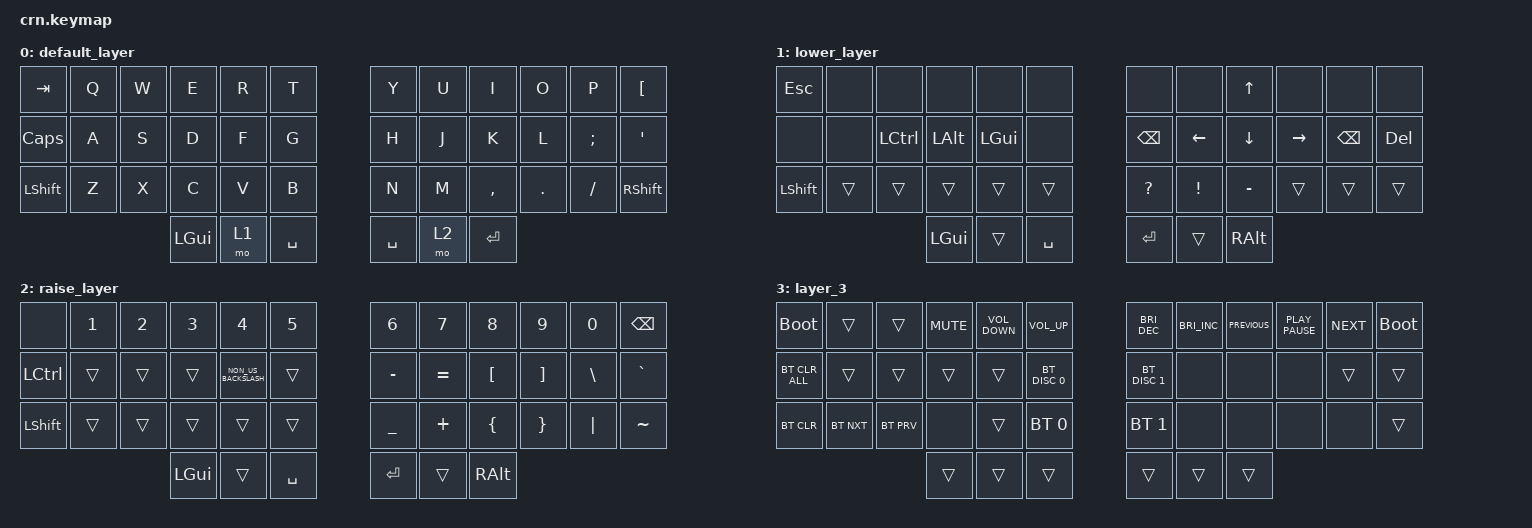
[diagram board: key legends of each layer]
#include <behaviors.dtsi>
#include <dt-bindings/zmk/bt.h>
#include <dt-bindings/zmk/keys.h>

/ {
    keymap {
        compatible = "zmk,keymap";

        default_layer {
            // -----------------------------------------------------------------------------------------
            // |  TAB |  Q  |  W  |  E  |  R  |  T  |   |  Y  |  U   |  I  |  O  |  P  | BKSP |
            // | CTRL |  A  |  S  |  D  |  F  |  G  |   |  H  |  J   |  K  |  L  |  ;  |  '   |
            // | SHFT |  Z  |  X  |  C  |  V  |  B  |   |  N  |  M   |  ,  |  .  |  /  | ESC  |
            //                    | GUI | LWR | SPC |   | ENT | RSE  | ALT |

            bindings = <
&kp TAB    &kp Q  &kp W  &kp E     &kp R  &kp T      &kp Y      &kp U  &kp I      &kp O    &kp P     &kp LEFT_BRACKET
&kp CAPS   &kp A  &kp S  &kp D     &kp F  &kp G      &kp H      &kp J  &kp K      &kp L    &kp SEMI  &kp SQT
&kp LSHFT  &kp Z  &kp X  &kp C     &kp V  &kp B      &kp N      &kp M  &kp COMMA  &kp DOT  &kp FSLH  &kp RIGHT_SHIFT
                         &kp LGUI  &mo 1  &kp SPACE  &kp SPACE  &mo 2  &kp ENTER
            >;
        };

        lower_layer {
            // -----------------------------------------------------------------------------------------
            // |  TAB |  1  |  2  |  3  |  4  |  5  |   |  6  |  7  |  8  |  9  |  0  | BKSP |
            // | BTCLR| BT1 | BT2 | BT3 | BT4 | BT5 |   | LFT | DWN |  UP | RGT |     |      |
            // | SHFT |     |     |     |     |     |   |     |     |     |     |     |      |
            //                    | GUI |     | SPC |   | ENT |     | ALT |

            bindings = <
&kp ESC    &none   &none             &none         &none         &none      &none          &none            &kp UP_ARROW  &none      &none          &none
&none      &none   &kp LEFT_CONTROL  &kp LEFT_ALT  &kp LEFT_GUI  &none      &kp BACKSPACE  &kp LEFT         &kp DOWN      &kp RIGHT  &kp BACKSPACE  &kp DEL
&kp LSHFT  &trans  &trans            &trans        &trans        &trans     &kp QUESTION   &kp EXCLAMATION  &kp MINUS     &trans     &trans         &trans
                                     &kp LGUI      &trans        &kp SPACE  &kp RET        &trans           &kp RALT
            >;
        };

        raise_layer {
            // -----------------------------------------------------------------------------------------
            // |  TAB |  !  |  @  |  #  |  $  |  %  |   |  ^  |  &  |  *  |  (  |  )  | BKSP |
            // | CTRL |     |     |     |     |     |   |  -  |  =  |  [  |  ]  |  \  |  `   |
            // | SHFT |     |     |     |     |     |   |  _  |  +  |  {  |  }  | "|" |  ~   |
            //                    | GUI |     | SPC |   | ENT |     | ALT |

            bindings = <
&none      &kp NUMBER_1  &kp NUMBER_2  &kp NUMBER_3  &kp NUMBER_4          &kp NUMBER_5  &kp NUMBER_6  &kp NUMBER_7  &kp NUMBER_8  &kp NUMBER_9  &kp NUMBER_0  &kp BSPC
&kp LCTRL  &trans        &trans        &trans        &kp NON_US_BACKSLASH  &trans        &kp MINUS     &kp EQUAL     &kp LBKT      &kp RBKT      &kp BSLH      &kp GRAVE
&kp LSHFT  &trans        &trans        &trans        &trans                &trans        &kp UNDER     &kp PLUS      &kp LBRC      &kp RBRC      &kp PIPE      &kp TILDE
                                       &kp LGUI      &trans                &kp SPACE     &kp RET       &trans        &kp RALT
            >;
        };

        layer_3 {
            bindings = <
&bootloader     &trans      &trans      &kp K_MUTE  &kp C_VOLUME_DOWN  &kp C_VOLUME_UP  &kp C_BRIGHTNESS_DEC  &kp C_BRIGHTNESS_INC  &kp C_PREVIOUS  &kp K_PLAY_PAUSE  &kp C_NEXT  &bootloader
&bt BT_CLR_ALL  &trans      &trans      &trans      &trans             &bt BT_DISC 0    &bt BT_DISC 1         &none                 &none           &none             &trans      &trans
&bt BT_CLR      &bt BT_NXT  &bt BT_PRV  &none       &trans             &bt BT_SEL 0     &bt BT_SEL 1          &none                 &none           &none             &none       &trans
                                        &trans      &trans             &trans           &trans                &trans                &trans
            >;
        };
    };

    conditional_layers {
        compatible = "zmk,conditional-layers";

        trilayer {
            if-layers = <1 2>;
            then-layer = <3>;
        };
    };
};
